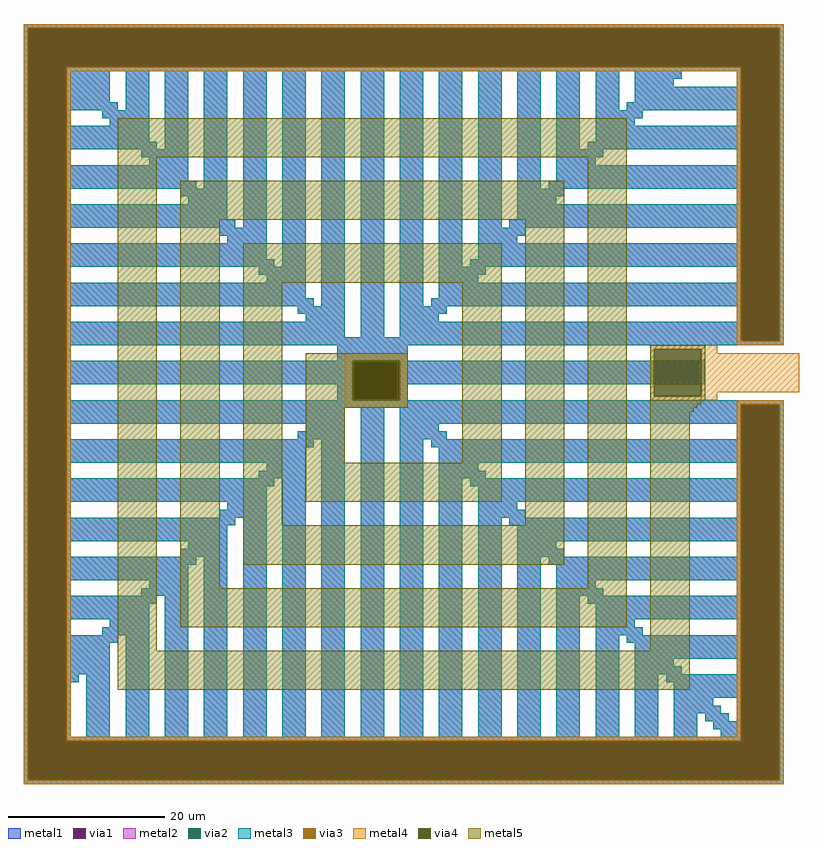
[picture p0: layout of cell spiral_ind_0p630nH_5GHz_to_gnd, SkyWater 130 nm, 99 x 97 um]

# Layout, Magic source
magic
tech sky130B
<< metal1 >>
rect -1200 7650 8500 7700
rect -1200 -1950 -1150 7650
rect -650 7100 7950 7150
rect -650 6700 -100 7100
rect -650 6600 0 6700
rect 100 6600 400 7100
rect -650 6400 -600 6600
rect -200 6500 400 6600
rect -100 6400 400 6500
rect -650 6200 400 6400
rect -650 6100 500 6200
rect 600 6100 900 7100
rect -650 5900 -600 6100
rect 300 6000 900 6100
rect 400 5900 900 6000
rect -650 5700 900 5900
rect -650 5600 1000 5700
rect 1100 5600 1400 7100
rect -650 5400 -600 5600
rect 800 5500 1400 5600
rect 900 5400 1400 5500
rect -650 5200 1400 5400
rect -650 5100 1500 5200
rect 1600 5100 1900 7100
rect -650 4900 -600 5100
rect 1300 5000 1900 5100
rect 1400 4900 1900 5000
rect -650 4700 1900 4900
rect -650 4600 2000 4700
rect 2100 4600 2400 7100
rect -650 4400 -600 4600
rect 1800 4500 2400 4600
rect 1900 4400 2400 4500
rect -650 4200 2400 4400
rect -650 4100 2500 4200
rect 2600 4100 2900 7100
rect -650 3900 -600 4100
rect 2300 4000 2900 4100
rect 2400 3900 2900 4000
rect -650 3700 2900 3900
rect 3100 3700 3400 7100
rect 3600 4100 3900 7100
rect 4100 4600 4400 7100
rect 4600 5100 4900 7100
rect 5100 5600 5400 7100
rect 5600 6100 5900 7100
rect 6100 6600 6400 7100
rect 6600 7000 7200 7100
rect 6600 6900 7100 7000
rect 7900 6900 7950 7100
rect 6600 6700 7950 6900
rect 6500 6600 7950 6700
rect 6100 6500 6700 6600
rect 6100 6400 6600 6500
rect 7900 6400 7950 6600
rect 6100 6200 7950 6400
rect 6000 6100 7950 6200
rect 5600 6000 6200 6100
rect 5600 5900 6100 6000
rect 7900 5900 7950 6100
rect 5600 5700 7950 5900
rect 5500 5600 7950 5700
rect 5100 5500 5700 5600
rect 5100 5400 5600 5500
rect 7900 5400 7950 5600
rect 5100 5200 7950 5400
rect 5000 5100 7950 5200
rect 4600 5000 5200 5100
rect 4600 4900 5100 5000
rect 7900 4900 7950 5100
rect 4600 4700 7950 4900
rect 4500 4600 7950 4700
rect 4100 4500 4700 4600
rect 4100 4400 4600 4500
rect 7900 4400 7950 4600
rect 4100 4200 7950 4400
rect 4000 4100 7950 4200
rect 3600 4000 4200 4100
rect 3600 3900 4100 4000
rect 7900 3900 7950 4100
rect 3600 3700 7950 3900
rect -650 3650 7950 3700
rect 8450 3650 8500 7650
rect -650 3600 8500 3650
rect -650 3400 -600 3600
rect 2800 3400 3700 3600
rect -650 3100 3000 3400
rect -650 2900 -600 3100
rect 2800 2900 3000 3100
rect 3600 3100 7500 3400
rect 3600 2900 3700 3100
rect -650 2850 8500 2900
rect -650 2800 7950 2850
rect -650 2600 2900 2800
rect -650 2400 -600 2600
rect 2400 2500 2900 2600
rect 2300 2400 2900 2500
rect -650 2300 2500 2400
rect -650 2100 2400 2300
rect -650 1900 -600 2100
rect 1900 2000 2400 2100
rect 1800 1900 2400 2000
rect -650 1800 2000 1900
rect -650 1600 1900 1800
rect -650 1400 -600 1600
rect 1400 1500 1900 1600
rect 1300 1400 1900 1500
rect -650 1300 1500 1400
rect -650 1100 1400 1300
rect -650 900 -600 1100
rect 900 1000 1400 1100
rect 800 900 1400 1000
rect -650 800 1000 900
rect -650 600 900 800
rect -650 400 -600 600
rect 400 500 900 600
rect 300 400 900 500
rect -650 300 500 400
rect -650 100 400 300
rect -650 -100 -600 100
rect -100 0 400 100
rect -200 -100 400 0
rect -650 -200 0 -100
rect -650 -600 -100 -200
rect -650 -700 -500 -600
rect -650 -1400 -600 -700
rect -400 -1400 -100 -600
rect 100 -1400 400 -100
rect 600 -1400 900 400
rect 1100 -1400 1400 900
rect 1600 -1400 1900 1400
rect 2100 -1400 2400 1900
rect 2600 -1400 2900 2400
rect 3100 -1400 3400 2800
rect 3600 2600 7950 2800
rect 3600 2500 4100 2600
rect 3600 2400 4200 2500
rect 7900 2400 7950 2600
rect 3600 -1400 3900 2400
rect 4000 2300 7950 2400
rect 4100 2100 7950 2300
rect 4100 2000 4600 2100
rect 4100 1900 4700 2000
rect 7900 1900 7950 2100
rect 4100 -1400 4400 1900
rect 4500 1800 7950 1900
rect 4600 1600 7950 1800
rect 4600 1500 5100 1600
rect 4600 1400 5200 1500
rect 7900 1400 7950 1600
rect 4600 -1400 4900 1400
rect 5000 1300 7950 1400
rect 5100 1100 7950 1300
rect 5100 1000 5600 1100
rect 5100 900 5700 1000
rect 7900 900 7950 1100
rect 5100 -1400 5400 900
rect 5500 800 7950 900
rect 5600 600 7950 800
rect 5600 500 6100 600
rect 5600 400 6200 500
rect 7900 400 7950 600
rect 5600 -1400 5900 400
rect 6000 300 7950 400
rect 6100 100 7950 300
rect 6100 0 6600 100
rect 6100 -100 6700 0
rect 7900 -100 7950 100
rect 6100 -1400 6400 -100
rect 6500 -200 7950 -100
rect 6600 -400 7950 -200
rect 6600 -500 7100 -400
rect 6600 -600 7200 -500
rect 7900 -600 7950 -400
rect 6600 -1400 6900 -600
rect 7000 -700 7950 -600
rect 7100 -900 7950 -700
rect 7100 -1000 7600 -900
rect 7100 -1100 7700 -1000
rect 7100 -1400 7400 -1100
rect 7500 -1200 7800 -1100
rect 7900 -1200 7950 -900
rect 7600 -1300 7950 -1200
rect 7700 -1400 7950 -1300
rect -650 -1450 7950 -1400
rect 8450 -1950 8500 2850
rect -1200 -2000 8500 -1950
<< via1 >>
rect -1150 7150 8450 7650
rect -1150 -1450 -650 7150
rect 7950 3650 8450 7150
rect 3000 2900 3600 3400
rect 7950 -1450 8450 2850
rect -1150 -1950 8450 -1450
<< metal2 >>
rect -1200 7650 8500 7700
rect -1200 -1950 -1150 7650
rect -650 7100 7950 7150
rect -650 6700 -100 7100
rect -650 6600 0 6700
rect 100 6600 400 7100
rect -650 6400 -600 6600
rect -200 6500 400 6600
rect -100 6400 400 6500
rect -650 6200 400 6400
rect -650 6100 500 6200
rect 600 6100 900 7100
rect -650 5900 -600 6100
rect 300 6000 900 6100
rect 400 5900 900 6000
rect -650 5700 900 5900
rect -650 5600 1000 5700
rect 1100 5600 1400 7100
rect -650 5400 -600 5600
rect 800 5500 1400 5600
rect 900 5400 1400 5500
rect -650 5200 1400 5400
rect -650 5100 1500 5200
rect 1600 5100 1900 7100
rect -650 4900 -600 5100
rect 1300 5000 1900 5100
rect 1400 4900 1900 5000
rect -650 4700 1900 4900
rect -650 4600 2000 4700
rect 2100 4600 2400 7100
rect -650 4400 -600 4600
rect 1800 4500 2400 4600
rect 1900 4400 2400 4500
rect -650 4200 2400 4400
rect -650 4100 2500 4200
rect 2600 4100 2900 7100
rect -650 3900 -600 4100
rect 2300 4000 2900 4100
rect 2400 3900 2900 4000
rect -650 3700 2900 3900
rect 3100 3700 3400 7100
rect 3600 4100 3900 7100
rect 4100 4600 4400 7100
rect 4600 5100 4900 7100
rect 5100 5600 5400 7100
rect 5600 6100 5900 7100
rect 6100 6600 6400 7100
rect 6600 7000 7200 7100
rect 6600 6900 7100 7000
rect 7900 6900 7950 7100
rect 6600 6700 7950 6900
rect 6500 6600 7950 6700
rect 6100 6500 6700 6600
rect 6100 6400 6600 6500
rect 7900 6400 7950 6600
rect 6100 6200 7950 6400
rect 6000 6100 7950 6200
rect 5600 6000 6200 6100
rect 5600 5900 6100 6000
rect 7900 5900 7950 6100
rect 5600 5700 7950 5900
rect 5500 5600 7950 5700
rect 5100 5500 5700 5600
rect 5100 5400 5600 5500
rect 7900 5400 7950 5600
rect 5100 5200 7950 5400
rect 5000 5100 7950 5200
rect 4600 5000 5200 5100
rect 4600 4900 5100 5000
rect 7900 4900 7950 5100
rect 4600 4700 7950 4900
rect 4500 4600 7950 4700
rect 4100 4500 4700 4600
rect 4100 4400 4600 4500
rect 7900 4400 7950 4600
rect 4100 4200 7950 4400
rect 4000 4100 7950 4200
rect 3600 4000 4200 4100
rect 3600 3900 4100 4000
rect 7900 3900 7950 4100
rect 3600 3700 7950 3900
rect -650 3650 7950 3700
rect 8450 3650 8500 7650
rect -650 3600 8500 3650
rect -650 3400 -600 3600
rect 2800 3400 3700 3600
rect -650 3100 3000 3400
rect -650 2900 -600 3100
rect 2800 2900 3000 3100
rect 3600 3100 7500 3400
rect 3600 2900 3700 3100
rect -650 2850 8500 2900
rect -650 2800 7950 2850
rect -650 2600 2900 2800
rect -650 2400 -600 2600
rect 2400 2500 2900 2600
rect 2300 2400 2900 2500
rect -650 2300 2500 2400
rect -650 2100 2400 2300
rect -650 1900 -600 2100
rect 1900 2000 2400 2100
rect 1800 1900 2400 2000
rect -650 1800 2000 1900
rect -650 1600 1900 1800
rect -650 1400 -600 1600
rect 1400 1500 1900 1600
rect 1300 1400 1900 1500
rect -650 1300 1500 1400
rect -650 1100 1400 1300
rect -650 900 -600 1100
rect 900 1000 1400 1100
rect 800 900 1400 1000
rect -650 800 1000 900
rect -650 600 900 800
rect -650 400 -600 600
rect 400 500 900 600
rect 300 400 900 500
rect -650 300 500 400
rect -650 100 400 300
rect -650 -100 -600 100
rect -100 0 400 100
rect -200 -100 400 0
rect -650 -200 0 -100
rect -650 -600 -100 -200
rect -650 -700 -500 -600
rect -650 -1400 -600 -700
rect -400 -1400 -100 -600
rect 100 -1400 400 -100
rect 600 -1400 900 400
rect 1100 -1400 1400 900
rect 1600 -1400 1900 1400
rect 2100 -1400 2400 1900
rect 2600 -1400 2900 2400
rect 3100 -1400 3400 2800
rect 3600 2600 7950 2800
rect 3600 2500 4100 2600
rect 3600 2400 4200 2500
rect 7900 2400 7950 2600
rect 3600 -1400 3900 2400
rect 4000 2300 7950 2400
rect 4100 2100 7950 2300
rect 4100 2000 4600 2100
rect 4100 1900 4700 2000
rect 7900 1900 7950 2100
rect 4100 -1400 4400 1900
rect 4500 1800 7950 1900
rect 4600 1600 7950 1800
rect 4600 1500 5100 1600
rect 4600 1400 5200 1500
rect 7900 1400 7950 1600
rect 4600 -1400 4900 1400
rect 5000 1300 7950 1400
rect 5100 1100 7950 1300
rect 5100 1000 5600 1100
rect 5100 900 5700 1000
rect 7900 900 7950 1100
rect 5100 -1400 5400 900
rect 5500 800 7950 900
rect 5600 600 7950 800
rect 5600 500 6100 600
rect 5600 400 6200 500
rect 7900 400 7950 600
rect 5600 -1400 5900 400
rect 6000 300 7950 400
rect 6100 100 7950 300
rect 6100 0 6600 100
rect 6100 -100 6700 0
rect 7900 -100 7950 100
rect 6100 -1400 6400 -100
rect 6500 -200 7950 -100
rect 6600 -400 7950 -200
rect 6600 -500 7100 -400
rect 6600 -600 7200 -500
rect 7900 -600 7950 -400
rect 6600 -1400 6900 -600
rect 7000 -700 7950 -600
rect 7100 -900 7950 -700
rect 7100 -1000 7600 -900
rect 7100 -1100 7700 -1000
rect 7100 -1400 7400 -1100
rect 7500 -1200 7800 -1100
rect 7900 -1200 7950 -900
rect 7600 -1300 7950 -1200
rect 7700 -1400 7950 -1300
rect -650 -1450 7950 -1400
rect 8450 -1950 8500 2850
rect -1200 -2000 8500 -1950
<< via2 >>
rect -1150 7150 8450 7650
rect -1150 -1450 -650 7150
rect 7950 3650 8450 7150
rect 3000 2900 3600 3400
rect 7950 -1450 8450 2850
rect -1150 -1950 8450 -1450
<< metal3 >>
rect -1200 7650 8500 7700
rect -1200 -1950 -1150 7650
rect -650 7100 7950 7150
rect -650 6700 -100 7100
rect -650 6600 0 6700
rect 100 6600 400 7100
rect -650 6400 -600 6600
rect -200 6500 400 6600
rect -100 6400 400 6500
rect -650 6200 400 6400
rect -650 6100 500 6200
rect 600 6100 900 7100
rect -650 5900 -600 6100
rect 300 6000 900 6100
rect 400 5900 900 6000
rect -650 5700 900 5900
rect -650 5600 1000 5700
rect 1100 5600 1400 7100
rect -650 5400 -600 5600
rect 800 5500 1400 5600
rect 900 5400 1400 5500
rect -650 5200 1400 5400
rect -650 5100 1500 5200
rect 1600 5100 1900 7100
rect -650 4900 -600 5100
rect 1300 5000 1900 5100
rect 1400 4900 1900 5000
rect -650 4700 1900 4900
rect -650 4600 2000 4700
rect 2100 4600 2400 7100
rect -650 4400 -600 4600
rect 1800 4500 2400 4600
rect 1900 4400 2400 4500
rect -650 4200 2400 4400
rect -650 4100 2500 4200
rect 2600 4100 2900 7100
rect -650 3900 -600 4100
rect 2300 4000 2900 4100
rect 2400 3900 2900 4000
rect -650 3700 2900 3900
rect 3100 3700 3400 7100
rect 3600 4100 3900 7100
rect 4100 4600 4400 7100
rect 4600 5100 4900 7100
rect 5100 5600 5400 7100
rect 5600 6100 5900 7100
rect 6100 6600 6400 7100
rect 6600 7000 7200 7100
rect 6600 6900 7100 7000
rect 7900 6900 7950 7100
rect 6600 6700 7950 6900
rect 6500 6600 7950 6700
rect 6100 6500 6700 6600
rect 6100 6400 6600 6500
rect 7900 6400 7950 6600
rect 6100 6200 7950 6400
rect 6000 6100 7950 6200
rect 5600 6000 6200 6100
rect 5600 5900 6100 6000
rect 7900 5900 7950 6100
rect 5600 5700 7950 5900
rect 5500 5600 7950 5700
rect 5100 5500 5700 5600
rect 5100 5400 5600 5500
rect 7900 5400 7950 5600
rect 5100 5200 7950 5400
rect 5000 5100 7950 5200
rect 4600 5000 5200 5100
rect 4600 4900 5100 5000
rect 7900 4900 7950 5100
rect 4600 4700 7950 4900
rect 4500 4600 7950 4700
rect 4100 4500 4700 4600
rect 4100 4400 4600 4500
rect 7900 4400 7950 4600
rect 4100 4200 7950 4400
rect 4000 4100 7950 4200
rect 3600 4000 4200 4100
rect 3600 3900 4100 4000
rect 7900 3900 7950 4100
rect 3600 3700 7950 3900
rect -650 3650 7950 3700
rect 8450 3650 8500 7650
rect -650 3600 8500 3650
rect -650 3400 -600 3600
rect 2800 3400 3700 3600
rect -650 3100 3000 3400
rect -650 2900 -600 3100
rect 2800 2900 3000 3100
rect 3600 3100 7500 3400
rect 3600 2900 3700 3100
rect -650 2850 8500 2900
rect -650 2800 7950 2850
rect -650 2600 2900 2800
rect -650 2400 -600 2600
rect 2400 2500 2900 2600
rect 2300 2400 2900 2500
rect -650 2300 2500 2400
rect -650 2100 2400 2300
rect -650 1900 -600 2100
rect 1900 2000 2400 2100
rect 1800 1900 2400 2000
rect -650 1800 2000 1900
rect -650 1600 1900 1800
rect -650 1400 -600 1600
rect 1400 1500 1900 1600
rect 1300 1400 1900 1500
rect -650 1300 1500 1400
rect -650 1100 1400 1300
rect -650 900 -600 1100
rect 900 1000 1400 1100
rect 800 900 1400 1000
rect -650 800 1000 900
rect -650 600 900 800
rect -650 400 -600 600
rect 400 500 900 600
rect 300 400 900 500
rect -650 300 500 400
rect -650 100 400 300
rect -650 -100 -600 100
rect -100 0 400 100
rect -200 -100 400 0
rect -650 -200 0 -100
rect -650 -600 -100 -200
rect -650 -700 -500 -600
rect -650 -1400 -600 -700
rect -400 -1400 -100 -600
rect 100 -1400 400 -100
rect 600 -1400 900 400
rect 1100 -1400 1400 900
rect 1600 -1400 1900 1400
rect 2100 -1400 2400 1900
rect 2600 -1400 2900 2400
rect 3100 -1400 3400 2800
rect 3600 2600 7950 2800
rect 3600 2500 4100 2600
rect 3600 2400 4200 2500
rect 7900 2400 7950 2600
rect 3600 -1400 3900 2400
rect 4000 2300 7950 2400
rect 4100 2100 7950 2300
rect 4100 2000 4600 2100
rect 4100 1900 4700 2000
rect 7900 1900 7950 2100
rect 4100 -1400 4400 1900
rect 4500 1800 7950 1900
rect 4600 1600 7950 1800
rect 4600 1500 5100 1600
rect 4600 1400 5200 1500
rect 7900 1400 7950 1600
rect 4600 -1400 4900 1400
rect 5000 1300 7950 1400
rect 5100 1100 7950 1300
rect 5100 1000 5600 1100
rect 5100 900 5700 1000
rect 7900 900 7950 1100
rect 5100 -1400 5400 900
rect 5500 800 7950 900
rect 5600 600 7950 800
rect 5600 500 6100 600
rect 5600 400 6200 500
rect 7900 400 7950 600
rect 5600 -1400 5900 400
rect 6000 300 7950 400
rect 6100 100 7950 300
rect 6100 0 6600 100
rect 6100 -100 6700 0
rect 7900 -100 7950 100
rect 6100 -1400 6400 -100
rect 6500 -200 7950 -100
rect 6600 -400 7950 -200
rect 6600 -500 7100 -400
rect 6600 -600 7200 -500
rect 7900 -600 7950 -400
rect 6600 -1400 6900 -600
rect 7000 -700 7950 -600
rect 7100 -900 7950 -700
rect 7100 -1000 7600 -900
rect 7100 -1100 7700 -1000
rect 7100 -1400 7400 -1100
rect 7500 -1200 7800 -1100
rect 7900 -1200 7950 -900
rect 7600 -1300 7950 -1200
rect 7700 -1400 7950 -1300
rect -650 -1450 7950 -1400
rect 8450 -1950 8500 2850
rect -1200 -2000 8500 -1950
<< via3 >>
rect -1150 7150 8450 7650
rect -1150 -1450 -650 7150
rect 7950 3650 8450 7150
rect 3000 2900 3600 3400
rect 7950 -1450 8450 2850
rect -1150 -1950 8450 -1450
<< metal4 >>
rect -1200 7650 8500 7700
rect -1200 -1950 -1150 7650
rect -650 7100 7950 7150
rect -650 -1400 -600 7100
rect 7900 3650 7950 7100
rect 8450 3650 8500 7650
rect 7900 3600 8500 3650
rect 6800 3550 7650 3600
rect 2900 3400 3700 3500
rect 2900 2900 3000 3400
rect 3600 2900 3700 3400
rect 6800 2950 6850 3550
rect 7450 3500 7650 3550
rect 7450 3000 8700 3500
rect 7450 2950 7650 3000
rect 6800 2900 7650 2950
rect 2900 2800 3700 2900
rect 7900 2850 8500 2900
rect 7900 -1400 7950 2850
rect -650 -1450 7950 -1400
rect 8450 -1950 8500 2850
rect -1200 -2000 8500 -1950
<< via4 >>
rect 3000 2900 3600 3400
rect 6850 2950 7450 3550
<< metal5 >>
rect 0 6000 6500 6500
rect 0 -300 500 6000
rect 800 5200 5700 5700
rect 800 500 1300 5200
rect 1600 4400 4900 4900
rect 1600 1300 2100 4400
rect 2400 3400 3700 3500
rect 2400 2900 3000 3400
rect 3600 2900 3700 3400
rect 2400 2800 3700 2900
rect 2400 2100 2900 2800
rect 4400 2100 4900 4400
rect 2400 1600 4900 2100
rect 5200 1300 5700 5200
rect 1600 800 5700 1300
rect 6000 500 6500 6000
rect 800 0 6500 500
rect 6800 3550 7500 3600
rect 6800 2950 6850 3550
rect 7450 2950 7500 3550
rect 6800 2900 7500 2950
rect 6800 2850 7450 2900
rect 6800 2800 7400 2850
rect 6800 2750 7350 2800
rect 6800 -300 7300 2750
rect 0 -800 7300 -300
<< end >>
